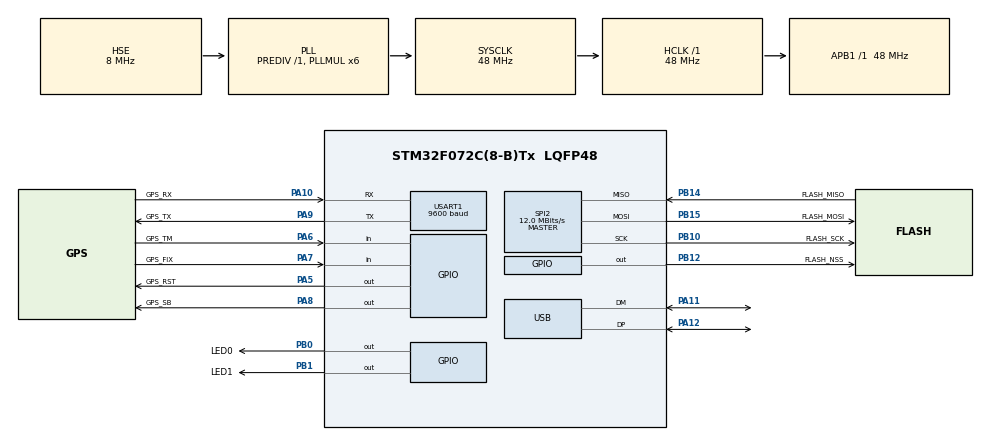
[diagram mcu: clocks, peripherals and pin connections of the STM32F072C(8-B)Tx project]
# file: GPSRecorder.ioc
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Mcu.Family=STM32F0
Mcu.Name=STM32F072C(8-B)Tx
Mcu.Package=LQFP48
NVIC.USART1_IRQn=true\:0\:0\:false\:false\:true\:true\:true\:true
NVIC.USB_IRQn=true\:0\:0\:true\:false\:true\:false\:true\:true
PA10.GPIO_Label=GPS_RX
PA10.Mode=Asynchronous
PA10.Signal=USART1_RX
PA11.Mode=Device
PA11.Signal=USB_DM
PA12.Mode=Device
PA12.Signal=USB_DP
PA13.Mode=Serial_Wire
PA13.Signal=SYS_SWDIO
PA14.Mode=Serial_Wire
PA14.Signal=SYS_SWCLK
PA5.GPIO_Label=GPS_RST
PA5.PinState=GPIO_PIN_RESET
PA5.Signal=GPIO_Output
PA6.GPIO_Label=GPS_TM
PA6.Signal=GPIO_Input
PA7.GPIO_Label=GPS_FIX
PA7.Signal=GPIO_Input
PA8.GPIO_Label=GPS_SB
PA8.PinState=GPIO_PIN_SET
PA8.Signal=GPIO_Output
PA9.GPIO_Label=GPS_TX
PA9.Mode=Asynchronous
PA9.Signal=USART1_TX
PB0.GPIO_Label=LED0
PB0.PinState=GPIO_PIN_SET
PB0.Signal=GPIO_Output
PB1.GPIO_Label=LED1
PB1.PinState=GPIO_PIN_SET
PB1.Signal=GPIO_Output
PB10.GPIO_Label=FLASH_SCK
PB10.Mode=Full_Duplex_Master
PB10.Signal=SPI2_SCK
PB12.GPIO_Label=FLASH_NSS
PB12.PinState=GPIO_PIN_SET
PB12.Signal=GPIO_Output
PB14.GPIO_Label=FLASH_MISO
PB14.Mode=Full_Duplex_Master
PB14.Signal=SPI2_MISO
PB15.GPIO_Label=FLASH_MOSI
PB15.Mode=Full_Duplex_Master
PB15.Signal=SPI2_MOSI
PF0-OSC_IN.Mode=HSE-External-Oscillator
PF0-OSC_IN.Signal=RCC_OSC_IN
PF1-OSC_OUT.Mode=HSE-External-Oscillator
PF1-OSC_OUT.Signal=RCC_OSC_OUT
ProjectManager.HeapSize=0x400
ProjectManager.StackSize=0x1000
ProjectManager.TargetToolchain=STM32CubeIDE
RCC.AHBFreq_Value=48000000
RCC.APB1Freq_Value=48000000
RCC.APB1TimFreq_Value=48000000
RCC.HCLKFreq_Value=48000000
RCC.PLLMUL=RCC_PLL_MUL6
RCC.RTCClockSelection=RCC_RTCCLKSOURCE_HSE_DIV32
RCC.SYSCLKFreq_VALUE=48000000
RCC.SYSCLKSource=RCC_SYSCLKSOURCE_PLLCLK
RCC.USBClockSelection=RCC_USBCLKSOURCE_PLL
RTC.AsynchPrediv=125
RTC.SynchPrediv=2000
SPI2.BaudRatePrescaler=SPI_BAUDRATEPRESCALER_4
SPI2.CalculateBaudRate=12.0 MBits/s
SPI2.DataSize=SPI_DATASIZE_8BIT
SPI2.Direction=SPI_DIRECTION_2LINES
SPI2.Mode=SPI_MODE_MASTER
SPI2.VirtualType=VM_MASTER
USART1.BaudRate=9600
USART1.VirtualMode-Asynchronous=VM_ASYNC
USB_DEVICE.APP_RX_DATA_SIZE=128
USB_DEVICE.APP_TX_DATA_SIZE=128
USB_DEVICE.CLASS_NAME_FS=CDC
USB_DEVICE.VirtualMode=Cdc
USB_DEVICE.VirtualModeFS=Cdc_FS
VP_RTC_VS_RTC_Activate.Mode=RTC_Enabled
VP_USB_DEVICE_VS_USB_DEVICE_CDC_FS.Mode=CDC_FS
board=custom

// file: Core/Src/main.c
/* USER CODE BEGIN Header */
/**
  ******************************************************************************
  * @file           : main.c
  * @brief          : Main program body
  ******************************************************************************
  * @attention
  *
  * Copyright (c) 2023 STMicroelectronics.
  * All rights reserved.
  *
  * This software is licensed under terms that can be found in the LICENSE file
  * in the root directory of this software component.
  * If no LICENSE file comes with this software, it is provided AS-IS.
  *
  ******************************************************************************
  */
/* USER CODE END Header */
#include "main.h"
#include "usb_device.h"

RTC_HandleTypeDef hrtc;

SPI_HandleTypeDef hspi2;

UART_HandleTypeDef huart1;

void SystemClock_Config(void);
static void MX_GPIO_Init(void);
static void MX_SPI2_Init(void);
static void MX_RTC_Init(void);
static void MX_USART1_UART_Init(void);
/* USER CODE BEGIN PFP */
void main_task(void);
/* USER CODE END PFP */

/* USER CODE BEGIN 0 */
#include <stdio.h>
#include <sys/unistd.h>
#include "usbd_def.h"
#include "usbd_core.h"
#include "usbd_cdc_if.h"

// read from usb serial port
int _read(int file, char *data, int len)
{
	while(!usb_char_waiting())
	{
		HAL_Delay(10);
	}

    *data = usb_read_char();
	return 1;
}

// write to usb serial port
int _write(int file, char *ptr, int len)
{
	if(usb_is_configured())
	{
		usb_write_chars(ptr, len);
	}

	return len;
}
/* USER CODE END 0 */

int main(void)
{

  /* MCU Configuration--------------------------------------------------------*/

  /* Reset of all peripherals, Initializes the Flash interface and the Systick. */
  HAL_Init();

  /* Configure the system clock */
  SystemClock_Config();

  /* Initialize all configured peripherals */
  MX_GPIO_Init();
  MX_USB_DEVICE_Init();
  MX_SPI2_Init();
  MX_RTC_Init();
  MX_USART1_UART_Init();
  /* USER CODE BEGIN 2 */
  setvbuf(stdin, NULL, _IONBF, 0);
  setvbuf(stdout, NULL, _IONBF, 0);
  setvbuf(stderr, NULL, _IONBF, 0);

  /* USER CODE END 2 */

  /* Infinite loop */
  /* USER CODE BEGIN WHILE */
  while (1)
  {
	  for(int delay =0; delay < 50; delay++)
	  {
			if(usb_is_configured())
			{
				break;
			}
			HAL_Delay(100);
	  }
	  main_task();
    /* USER CODE END WHILE */

  }
}

void SystemClock_Config(void)
{
  RCC_OscInitTypeDef RCC_OscInitStruct = {0};
  RCC_ClkInitTypeDef RCC_ClkInitStruct = {0};
  RCC_PeriphCLKInitTypeDef PeriphClkInit = {0};

  /** Initializes the RCC Oscillators according to the specified parameters
  * in the RCC_OscInitTypeDef structure.
  */
  RCC_OscInitStruct.OscillatorType = RCC_OSCILLATORTYPE_HSE;
  RCC_OscInitStruct.HSEState = RCC_HSE_ON;
  RCC_OscInitStruct.PLL.PLLState = RCC_PLL_ON;
  RCC_OscInitStruct.PLL.PLLSource = RCC_PLLSOURCE_HSE;
  RCC_OscInitStruct.PLL.PLLMUL = RCC_PLL_MUL6;
  RCC_OscInitStruct.PLL.PREDIV = RCC_PREDIV_DIV1;
  if (HAL_RCC_OscConfig(&RCC_OscInitStruct) != HAL_OK)
  {
    Error_Handler();
  }

  /** Initializes the CPU, AHB and APB buses clocks
  */
  RCC_ClkInitStruct.ClockType = RCC_CLOCKTYPE_HCLK|RCC_CLOCKTYPE_SYSCLK
                              |RCC_CLOCKTYPE_PCLK1;
  RCC_ClkInitStruct.SYSCLKSource = RCC_SYSCLKSOURCE_PLLCLK;
  RCC_ClkInitStruct.AHBCLKDivider = RCC_SYSCLK_DIV1;
  RCC_ClkInitStruct.APB1CLKDivider = RCC_HCLK_DIV1;

  if (HAL_RCC_ClockConfig(&RCC_ClkInitStruct, FLASH_LATENCY_1) != HAL_OK)
  {
    Error_Handler();
  }
  PeriphClkInit.PeriphClockSelection = RCC_PERIPHCLK_USB|RCC_PERIPHCLK_USART1
                              |RCC_PERIPHCLK_RTC;
  PeriphClkInit.Usart1ClockSelection = RCC_USART1CLKSOURCE_PCLK1;
  PeriphClkInit.RTCClockSelection = RCC_RTCCLKSOURCE_HSE_DIV32;
  PeriphClkInit.UsbClockSelection = RCC_USBCLKSOURCE_PLL;

  if (HAL_RCCEx_PeriphCLKConfig(&PeriphClkInit) != HAL_OK)
  {
    Error_Handler();
  }
}

static void MX_RTC_Init(void)
{

  /** Initialize RTC Only
  */
  hrtc.Instance = RTC;
  hrtc.Init.HourFormat = RTC_HOURFORMAT_24;
  hrtc.Init.AsynchPrediv = 125;
  hrtc.Init.SynchPrediv = 2000;
  hrtc.Init.OutPut = RTC_OUTPUT_DISABLE;
  hrtc.Init.OutPutPolarity = RTC_OUTPUT_POLARITY_HIGH;
  hrtc.Init.OutPutType = RTC_OUTPUT_TYPE_OPENDRAIN;
  if (HAL_RTC_Init(&hrtc) != HAL_OK)
  {
    Error_Handler();
  }

}

static void MX_SPI2_Init(void)
{

  /* SPI2 parameter configuration*/
  hspi2.Instance = SPI2;
  hspi2.Init.Mode = SPI_MODE_MASTER;
  hspi2.Init.Direction = SPI_DIRECTION_2LINES;
  hspi2.Init.DataSize = SPI_DATASIZE_8BIT;
  hspi2.Init.CLKPolarity = SPI_POLARITY_LOW;
  hspi2.Init.CLKPhase = SPI_PHASE_1EDGE;
  hspi2.Init.NSS = SPI_NSS_SOFT;
  hspi2.Init.BaudRatePrescaler = SPI_BAUDRATEPRESCALER_4;
  hspi2.Init.FirstBit = SPI_FIRSTBIT_MSB;
  hspi2.Init.TIMode = SPI_TIMODE_DISABLE;
  hspi2.Init.CRCCalculation = SPI_CRCCALCULATION_DISABLE;
  hspi2.Init.CRCPolynomial = 7;
  hspi2.Init.CRCLength = SPI_CRC_LENGTH_DATASIZE;
  hspi2.Init.NSSPMode = SPI_NSS_PULSE_ENABLE;
  if (HAL_SPI_Init(&hspi2) != HAL_OK)
  {
    Error_Handler();
  }

}

static void MX_USART1_UART_Init(void)
{

  huart1.Instance = USART1;
  huart1.Init.BaudRate = 9600;
  huart1.Init.WordLength = UART_WORDLENGTH_8B;
  huart1.Init.StopBits = UART_STOPBITS_1;
  huart1.Init.Parity = UART_PARITY_NONE;
  huart1.Init.Mode = UART_MODE_TX_RX;
  huart1.Init.HwFlowCtl = UART_HWCONTROL_NONE;
  huart1.Init.OverSampling = UART_OVERSAMPLING_16;
  huart1.Init.OneBitSampling = UART_ONE_BIT_SAMPLE_DISABLE;
  huart1.AdvancedInit.AdvFeatureInit = UART_ADVFEATURE_NO_INIT;
  if (HAL_UART_Init(&huart1) != HAL_OK)
  {
    Error_Handler();
  }

}

static void MX_GPIO_Init(void)
{
  GPIO_InitTypeDef GPIO_InitStruct = {0};

  /* GPIO Ports Clock Enable */
  __HAL_RCC_GPIOF_CLK_ENABLE();
  __HAL_RCC_GPIOA_CLK_ENABLE();
  __HAL_RCC_GPIOB_CLK_ENABLE();

  /*Configure GPIO pin Output Level */
  HAL_GPIO_WritePin(GPS_RST_GPIO_Port, GPS_RST_Pin, GPIO_PIN_RESET);

  /*Configure GPIO pin Output Level */
  HAL_GPIO_WritePin(GPIOB, LED0_Pin|LED1_Pin|FLASH_NSS_Pin, GPIO_PIN_SET);

  /*Configure GPIO pin Output Level */
  HAL_GPIO_WritePin(GPS_SB_GPIO_Port, GPS_SB_Pin, GPIO_PIN_SET);

  /*Configure GPIO pins : GPS_RST_Pin GPS_SB_Pin */
  GPIO_InitStruct.Pin = GPS_RST_Pin|GPS_SB_Pin;
  GPIO_InitStruct.Mode = GPIO_MODE_OUTPUT_PP;
  GPIO_InitStruct.Pull = GPIO_NOPULL;
  GPIO_InitStruct.Speed = GPIO_SPEED_FREQ_LOW;
  HAL_GPIO_Init(GPIOA, &GPIO_InitStruct);

  /*Configure GPIO pins : GPS_TM_Pin GPS_FIX_Pin */
  GPIO_InitStruct.Pin = GPS_TM_Pin|GPS_FIX_Pin;
  GPIO_InitStruct.Mode = GPIO_MODE_INPUT;
  GPIO_InitStruct.Pull = GPIO_NOPULL;
  HAL_GPIO_Init(GPIOA, &GPIO_InitStruct);

  /*Configure GPIO pins : LED0_Pin LED1_Pin FLASH_NSS_Pin */
  GPIO_InitStruct.Pin = LED0_Pin|LED1_Pin|FLASH_NSS_Pin;
  GPIO_InitStruct.Mode = GPIO_MODE_OUTPUT_PP;
  GPIO_InitStruct.Pull = GPIO_NOPULL;
  GPIO_InitStruct.Speed = GPIO_SPEED_FREQ_LOW;
  HAL_GPIO_Init(GPIOB, &GPIO_InitStruct);

}

void Error_Handler(void)
{
  __disable_irq();
  while (1)
  {
  }
}
